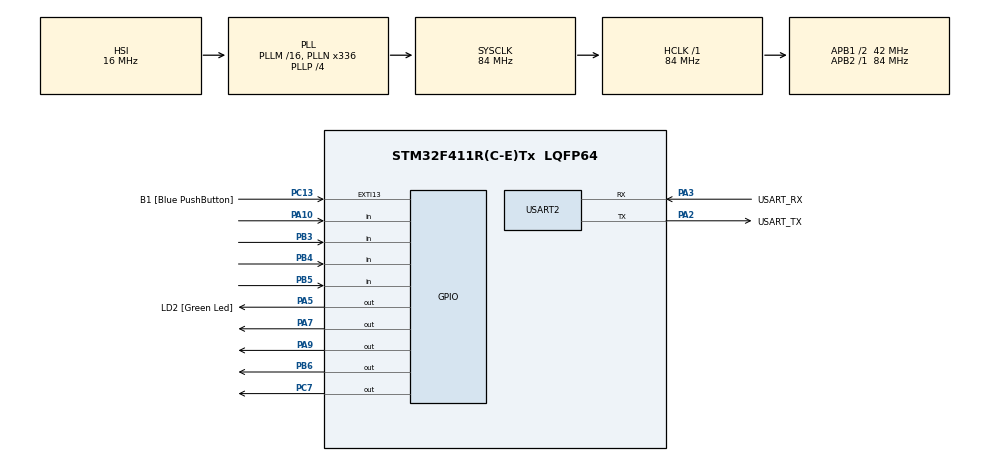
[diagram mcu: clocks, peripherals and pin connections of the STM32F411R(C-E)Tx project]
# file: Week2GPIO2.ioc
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Mcu.Family=STM32F4
Mcu.Name=STM32F411R(C-E)Tx
Mcu.Package=LQFP64
NVIC.PriorityGroup=NVIC_PRIORITYGROUP_0
PA10.GPIO_PuPd=GPIO_PULLUP
PA10.Signal=GPIO_Input
PA13.GPIO_Label=TMS
PA13.Mode=Serial_Wire
PA13.Signal=SYS_JTMS-SWDIO
PA14.GPIO_Label=TCK
PA14.Mode=Serial_Wire
PA14.Signal=SYS_JTCK-SWCLK
PA2.GPIO_Label=USART_TX
PA2.Mode=Asynchronous
PA2.Signal=USART2_TX
PA3.GPIO_Label=USART_RX
PA3.Mode=Asynchronous
PA3.Signal=USART2_RX
PA5.GPIO_Label=LD2 [Green Led]
PA5.Signal=GPIO_Output
PA7.GPIO_ModeDefaultOutputPP=GPIO_MODE_OUTPUT_OD
PA7.PinState=GPIO_PIN_SET
PA7.Signal=GPIO_Output
PA9.GPIO_ModeDefaultOutputPP=GPIO_MODE_OUTPUT_OD
PA9.PinState=GPIO_PIN_SET
PA9.Signal=GPIO_Output
PB3.GPIO_PuPd=GPIO_PULLUP
PB3.Signal=GPIO_Input
PB4.GPIO_PuPd=GPIO_PULLUP
PB4.Signal=GPIO_Input
PB5.GPIO_PuPd=GPIO_PULLUP
PB5.Signal=GPIO_Input
PB6.GPIO_ModeDefaultOutputPP=GPIO_MODE_OUTPUT_OD
PB6.PinState=GPIO_PIN_SET
PB6.Signal=GPIO_Output
PC13-ANTI_TAMP.GPIO_Label=B1 [Blue PushButton]
PC13-ANTI_TAMP.GPIO_ModeDefaultEXTI=GPIO_MODE_IT_FALLING
PC13-ANTI_TAMP.Signal=GPXTI13
PC14-OSC32_IN.Mode=LSE-External-Oscillator
PC14-OSC32_IN.Signal=RCC_OSC32_IN
PC15-OSC32_OUT.Mode=LSE-External-Oscillator
PC15-OSC32_OUT.Signal=RCC_OSC32_OUT
PC7.GPIO_ModeDefaultOutputPP=GPIO_MODE_OUTPUT_OD
PC7.PinState=GPIO_PIN_SET
PC7.Signal=GPIO_Output
PH0\ -\ OSC_IN.Mode=HSE-External-Clock-Source
PH0\ -\ OSC_IN.Signal=RCC_OSC_IN
PH1\ -\ OSC_OUT.Mode=HSE-External-Clock-Source
PH1\ -\ OSC_OUT.Signal=RCC_OSC_OUT
ProjectManager.HeapSize=0x200
ProjectManager.StackSize=0x400
ProjectManager.TargetToolchain=STM32CubeIDE
RCC.48MHZClocksFreq_Value=84000000
RCC.AHBFreq_Value=84000000
RCC.APB1CLKDivider=RCC_HCLK_DIV2
RCC.APB1Freq_Value=42000000
RCC.APB1TimFreq_Value=84000000
RCC.APB2Freq_Value=84000000
RCC.APB2TimFreq_Value=84000000
RCC.CortexFreq_Value=84000000
RCC.FLatency-AdvancedSettings=FLASH_LATENCY_2
RCC.HCLKFreq_Value=84000000
RCC.HSE_VALUE=8000000
RCC.HSI_VALUE=16000000
RCC.PLLN=336
RCC.PLLP=RCC_PLLP_DIV4
RCC.SYSCLKFreq_VALUE=84000000
RCC.SYSCLKSource=RCC_SYSCLKSOURCE_PLLCLK
RCC.VCOOutputFreq_Value=336000000
USART2.VirtualMode=VM_ASYNC
board=NUCLEO-F411RE

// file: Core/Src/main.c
/* USER CODE BEGIN Header */
/**
 ******************************************************************************
 * @file           : main.c
 * @brief          : Main program body
 ******************************************************************************
 * @attention
 *
 * <h2><center>&copy; Copyright (c) 2021 STMicroelectronics.
 * All rights reserved.</center></h2>
 *
 * This software component is licensed by ST under BSD 3-Clause license,
 * the "License"; You may not use this file except in compliance with the
 * License. You may obtain a copy of the License at:
 *                        opensource.org/licenses/BSD-3-Clause
 *
 ******************************************************************************
 */
/* USER CODE END Header */
#include "main.h"

UART_HandleTypeDef huart2;

/* USER CODE BEGIN PV */
//save status of Button Matrix
uint16_t ButtonMatrixState = 0;

//Button TimeStamp
uint32_t ButtonMatrixTimestamp = 0;
int count = 0;
int State = 0;
int check = 0;

/* USER CODE END PV */

void SystemClock_Config(void);
static void MX_GPIO_Init(void);
static void MX_USART2_UART_Init(void);
/* USER CODE BEGIN PFP */
//scan and update data of Button Matrix
void ButtonMatrixUpdate();
/* USER CODE END PFP */

int main(void) {

	/* MCU Configuration--------------------------------------------------------*/

	/* Reset of all peripherals, Initializes the Flash interface and the Systick. */
	HAL_Init();

	/* Configure the system clock */
	SystemClock_Config();

	/* Initialize all configured peripherals */
	MX_GPIO_Init();
	MX_USART2_UART_Init();

	/* Infinite loop */
	while (1) {

		/* USER CODE BEGIN 3 */
		ButtonMatrixUpdate();
	}
	/* USER CODE END 3 */
}

void SystemClock_Config(void) {
	RCC_OscInitTypeDef RCC_OscInitStruct = { 0 };
	RCC_ClkInitTypeDef RCC_ClkInitStruct = { 0 };

	/** Configure the main internal regulator output voltage
	 */
	__HAL_RCC_PWR_CLK_ENABLE();
	__HAL_PWR_VOLTAGESCALING_CONFIG(PWR_REGULATOR_VOLTAGE_SCALE1);
	/** Initializes the RCC Oscillators according to the specified parameters
	 * in the RCC_OscInitTypeDef structure.
	 */
	RCC_OscInitStruct.OscillatorType = RCC_OSCILLATORTYPE_HSI;
	RCC_OscInitStruct.HSIState = RCC_HSI_ON;
	RCC_OscInitStruct.HSICalibrationValue = RCC_HSICALIBRATION_DEFAULT;
	RCC_OscInitStruct.PLL.PLLState = RCC_PLL_ON;
	RCC_OscInitStruct.PLL.PLLSource = RCC_PLLSOURCE_HSI;
	RCC_OscInitStruct.PLL.PLLM = 16;
	RCC_OscInitStruct.PLL.PLLN = 336;
	RCC_OscInitStruct.PLL.PLLP = RCC_PLLP_DIV4;
	RCC_OscInitStruct.PLL.PLLQ = 4;
	if (HAL_RCC_OscConfig(&RCC_OscInitStruct) != HAL_OK) {
		Error_Handler();
	}
	/** Initializes the CPU, AHB and APB buses clocks
	 */
	RCC_ClkInitStruct.ClockType = RCC_CLOCKTYPE_HCLK | RCC_CLOCKTYPE_SYSCLK
			| RCC_CLOCKTYPE_PCLK1 | RCC_CLOCKTYPE_PCLK2;
	RCC_ClkInitStruct.SYSCLKSource = RCC_SYSCLKSOURCE_PLLCLK;
	RCC_ClkInitStruct.AHBCLKDivider = RCC_SYSCLK_DIV1;
	RCC_ClkInitStruct.APB1CLKDivider = RCC_HCLK_DIV2;
	RCC_ClkInitStruct.APB2CLKDivider = RCC_HCLK_DIV1;

	if (HAL_RCC_ClockConfig(&RCC_ClkInitStruct, FLASH_LATENCY_2) != HAL_OK) {
		Error_Handler();
	}
}

static void MX_USART2_UART_Init(void) {

	huart2.Instance = USART2;
	huart2.Init.BaudRate = 115200;
	huart2.Init.WordLength = UART_WORDLENGTH_8B;
	huart2.Init.StopBits = UART_STOPBITS_1;
	huart2.Init.Parity = UART_PARITY_NONE;
	huart2.Init.Mode = UART_MODE_TX_RX;
	huart2.Init.HwFlowCtl = UART_HWCONTROL_NONE;
	huart2.Init.OverSampling = UART_OVERSAMPLING_16;
	if (HAL_UART_Init(&huart2) != HAL_OK) {
		Error_Handler();
	}

}

static void MX_GPIO_Init(void) {
	GPIO_InitTypeDef GPIO_InitStruct = { 0 };

	/* GPIO Ports Clock Enable */
	__HAL_RCC_GPIOC_CLK_ENABLE();
	__HAL_RCC_GPIOH_CLK_ENABLE();
	__HAL_RCC_GPIOA_CLK_ENABLE();
	__HAL_RCC_GPIOB_CLK_ENABLE();

	/*Configure GPIO pin Output Level */
	HAL_GPIO_WritePin(LD2_GPIO_Port, LD2_Pin, GPIO_PIN_RESET);

	/*Configure GPIO pin Output Level */
	HAL_GPIO_WritePin(GPIOA, GPIO_PIN_7 | GPIO_PIN_9, GPIO_PIN_SET);

	/*Configure GPIO pin Output Level */
	HAL_GPIO_WritePin(GPIOC, GPIO_PIN_7, GPIO_PIN_SET);

	/*Configure GPIO pin Output Level */
	HAL_GPIO_WritePin(GPIOB, GPIO_PIN_6, GPIO_PIN_SET);

	/*Configure GPIO pin : B1_Pin */
	GPIO_InitStruct.Pin = B1_Pin;
	GPIO_InitStruct.Mode = GPIO_MODE_IT_FALLING;
	GPIO_InitStruct.Pull = GPIO_NOPULL;
	HAL_GPIO_Init(B1_GPIO_Port, &GPIO_InitStruct);

	/*Configure GPIO pin : LD2_Pin */
	GPIO_InitStruct.Pin = LD2_Pin;
	GPIO_InitStruct.Mode = GPIO_MODE_OUTPUT_PP;
	GPIO_InitStruct.Pull = GPIO_NOPULL;
	GPIO_InitStruct.Speed = GPIO_SPEED_FREQ_LOW;
	HAL_GPIO_Init(LD2_GPIO_Port, &GPIO_InitStruct);

	/*Configure GPIO pins : PA7 PA9 */
	GPIO_InitStruct.Pin = GPIO_PIN_7 | GPIO_PIN_9;
	GPIO_InitStruct.Mode = GPIO_MODE_OUTPUT_OD;
	GPIO_InitStruct.Pull = GPIO_NOPULL;
	GPIO_InitStruct.Speed = GPIO_SPEED_FREQ_LOW;
	HAL_GPIO_Init(GPIOA, &GPIO_InitStruct);

	/*Configure GPIO pin : PC7 */
	GPIO_InitStruct.Pin = GPIO_PIN_7;
	GPIO_InitStruct.Mode = GPIO_MODE_OUTPUT_OD;
	GPIO_InitStruct.Pull = GPIO_NOPULL;
	GPIO_InitStruct.Speed = GPIO_SPEED_FREQ_LOW;
	HAL_GPIO_Init(GPIOC, &GPIO_InitStruct);

	/*Configure GPIO pin : PA10 */
	GPIO_InitStruct.Pin = GPIO_PIN_10;
	GPIO_InitStruct.Mode = GPIO_MODE_INPUT;
	GPIO_InitStruct.Pull = GPIO_PULLUP;
	HAL_GPIO_Init(GPIOA, &GPIO_InitStruct);

	/*Configure GPIO pins : PB3 PB4 PB5 */
	GPIO_InitStruct.Pin = GPIO_PIN_3 | GPIO_PIN_4 | GPIO_PIN_5;
	GPIO_InitStruct.Mode = GPIO_MODE_INPUT;
	GPIO_InitStruct.Pull = GPIO_PULLUP;
	HAL_GPIO_Init(GPIOB, &GPIO_InitStruct);

	/*Configure GPIO pin : PB6 */
	GPIO_InitStruct.Pin = GPIO_PIN_6;
	GPIO_InitStruct.Mode = GPIO_MODE_OUTPUT_OD;
	GPIO_InitStruct.Pull = GPIO_NOPULL;
	GPIO_InitStruct.Speed = GPIO_SPEED_FREQ_LOW;
	HAL_GPIO_Init(GPIOB, &GPIO_InitStruct);

}

/* USER CODE BEGIN 4 */
//port/pin array , 0-3 input , 4-7 output
GPIO_TypeDef *ButtonMatrixPort[8] = { GPIOA, GPIOB, GPIOB, GPIOB, GPIOA, GPIOC,
GPIOB, GPIOA };

uint16_t ButtonMatrixPin[8] = { GPIO_PIN_10, GPIO_PIN_3, GPIO_PIN_5, GPIO_PIN_4,
GPIO_PIN_9, GPIO_PIN_7,
GPIO_PIN_6, GPIO_PIN_7 };

uint8_t ButtonMatrixRow = 0;  //What  R Now
void ButtonMatrixUpdate() {
	if (HAL_GetTick() - ButtonMatrixTimestamp >= 100) {
		ButtonMatrixTimestamp = HAL_GetTick();
		int i;
		for (i = 0; i < 4; i += 1) { //0-3
			GPIO_PinState PinState = HAL_GPIO_ReadPin(ButtonMatrixPort[i],
					ButtonMatrixPin[i]);
			if (PinState == GPIO_PIN_RESET) // Button Press
					{
				ButtonMatrixState |= (uint16_t) 1 << (i + ButtonMatrixRow * 4);
				switch (State) {
				case 0:
					count = 0;
					if (ButtonMatrixState == 0b1000000) { //6
						count+= 1;
						State = 1;
					} else {
						State = 0;
						check += 1;
					}
					break;
				case 1:
					if (ButtonMatrixState == 0b1000000000) { //62
						count+= 1;
						State = 2;
					} else {
						State = 0;
						check += 1;
					}
					break;
				case 2:
					if (ButtonMatrixState == 0b10000000000) { //623
						count += 1;
						State = 3;
					} else {
						State = 0;
						check += 1;
					}
					break;
				case 3:
					if (ButtonMatrixState == 0b10000) { //6234
						count += 1;
						State = 4;
					} else {
						State = 0;
						check += 1;
					}
					break;
				case 4:
					if (ButtonMatrixState == 0b1000000000000) { //62340
						count += 1;
						State = 5;
					} else {
						State = 0;
						check += 1;
					}
					break;
				case 5:
					if (ButtonMatrixState == 0b100000) { //623405
						count += 1;
						State = 6;
					} else {
						State = 0;
						check += 1;
					}
					break;
				case 6:
					if (ButtonMatrixState == 0b1000000000000) { //6234050
						count += 1;
						State = 7;
					} else {
						State = 0;
						check += 1;
					}
					break;
				case 7:
					if (ButtonMatrixState == 0b1000000000000) { //62340500
						count += 1;
						State = 8;
					} else {
						State = 0;
						check += 1;
					}
					break;
				case 8:
					if (ButtonMatrixState == 0b1000000000000) { //623405000
						count += 1;
						State = 9;
					} else {
						State = 0;
						check += 1;
					}
					break;
				case 9:
					if (ButtonMatrixState == 0b1000000000) { //6234050002
						count += 1;
						State = 10;
					} else {
						State = 0;
						check += 1;
					}
					break;
				case 10:
					if (ButtonMatrixState == 0b10000000000) { //62340500023
						count += 1;
						State = 11;
					} else {
						State = 0;
						check += 1;
					}
					break;
				case 11:
					if (ButtonMatrixState == 0b1000000000000000 && check == 0) {// OK
						if (count == 11 && HAL_GPIO_ReadPin(GPIOA, GPIO_PIN_5)== GPIO_PIN_RESET) {
							HAL_GPIO_WritePin(GPIOA, GPIO_PIN_5, GPIO_PIN_SET);
						}
					} else {
						State = 0;
					}
					break;
				}
			    if(ButtonMatrixState == 0b1000){ // Clear
			    	check = 0;
			    	count = 0;
			    	State = 0;
			    	HAL_GPIO_WritePin(GPIOA, GPIO_PIN_5, GPIO_PIN_RESET);
			    }
			}
			else
			{
				ButtonMatrixState &= ~((uint16_t) 1 << (i + ButtonMatrixRow * 4));
			}
		}
		uint8_t NowOutputPin = ButtonMatrixRow + 4;
		//SET Rn
		HAL_GPIO_WritePin(ButtonMatrixPort[NowOutputPin],
				ButtonMatrixPin[NowOutputPin], GPIO_PIN_SET);

		// update New Row
		ButtonMatrixRow = (ButtonMatrixRow + 1) % 4;
		uint8_t NextOutputPin = ButtonMatrixRow + 4;

		//Reset Rn+1
		HAL_GPIO_WritePin(ButtonMatrixPort[NextOutputPin],
				ButtonMatrixPin[NextOutputPin], GPIO_PIN_RESET);

	}
}
/* USER CODE END 4 */

void Error_Handler(void) {
	__disable_irq();
	while (1) {
	}
}

/************************ (C) COPYRIGHT STMicroelectronics *****END OF FILE****/
